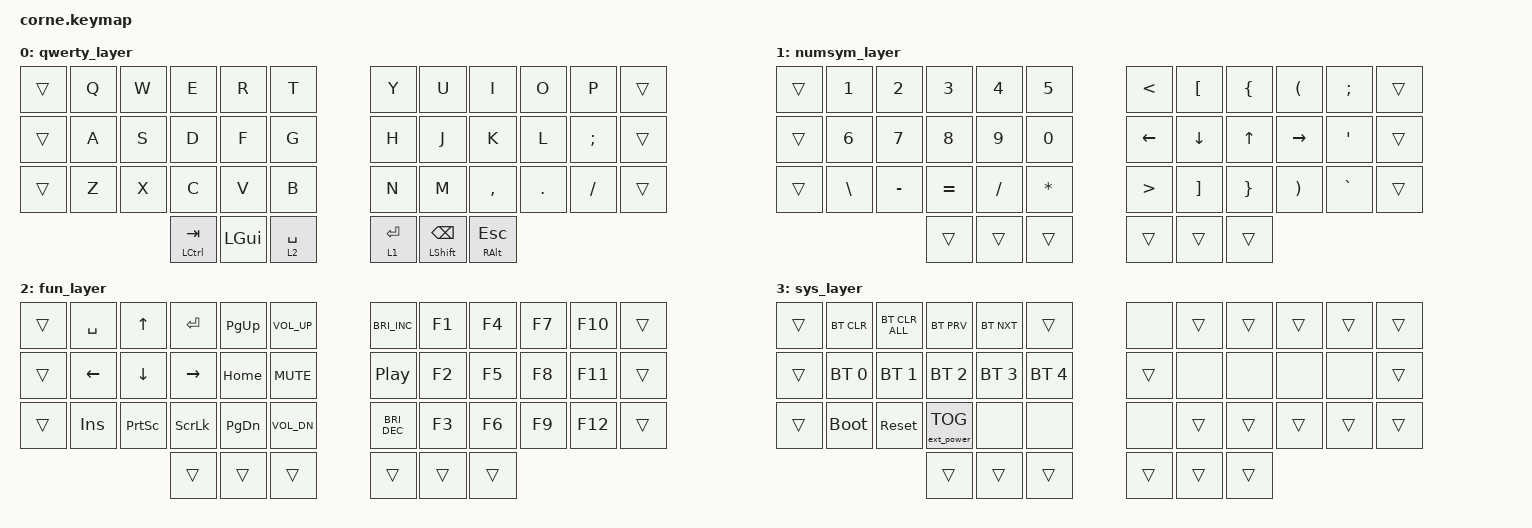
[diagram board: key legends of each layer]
/*
 * Copyright (c) 2020 The ZMK Contributors
 *
 * SPDX-License-Identifier: MIT
 */

#include <behaviors.dtsi>
#include <dt-bindings/zmk/bt.h>
#include <dt-bindings/zmk/ext_power.h>
#include <dt-bindings/zmk/keys.h>
#include <dt-bindings/zmk/outputs.h>

&mt {
    tapping-term-ms = <400>;
    quick-tap-ms = <175>;
    require-prior-idle-ms = <150>;
    flavor = "balanced";
};

&lt { tapping-term-ms = <400>; };

/ {
    combos {
        compatible = "zmk,combos";

        combo_esc {
            timeout-ms = <50>;
            key-positions = <1 2 3>;
            bindings = <&kp ESCAPE>;
        };

        combo_bksp {
            timeout-ms = <50>;
            key-positions = <10 9 8>;
            bindings = <&kp BACKSPACE>;
        };

        combo_tab {
            bindings = <&kp TAB>;
            key-positions = <13 14 15>;
        };

        combo_shift {
            bindings = <&kp LEFT_SHIFT>;
            key-positions = <25 26 27>;
        };

        combo_delete {
            bindings = <&kp DELETE>;
            key-positions = <21 22 20>;
        };

        combo_rshift {
            bindings = <&kp RIGHT_SHIFT>;
            key-positions = <33 34 32>;
        };

        exclm {
            bindings = <&kp EXCLAMATION>;
            key-positions = <1 13>;
        };

        at {
            bindings = <&kp AT_SIGN>;
            key-positions = <2 14>;
        };

        hash {
            bindings = <&kp HASH>;
            key-positions = <3 15>;
        };

        dllr {
            bindings = <&kp DOLLAR>;
            key-positions = <4 16>;
        };

        percnt {
            bindings = <&kp PERCENT>;
            key-positions = <5 17>;
        };

        caret {
            bindings = <&kp CARET>;
            key-positions = <6 18>;
        };

        and {
            bindings = <&kp AMPERSAND>;
            key-positions = <7 19>;
        };

        str {
            bindings = <&kp ASTERISK>;
            key-positions = <8 20>;
        };

        leftparen {
            bindings = <&kp LPAR>;
            key-positions = <9 21>;
        };

        rparen {
            bindings = <&kp RPAR>;
            key-positions = <10 22>;
        };

        system_reset {
            bindings = <&sys_reset>;
            key-positions = <3 4 5 14>;
        };

        bootloader {
            bindings = <&bootloader>;
            key-positions = <15 16 17 26>;
        };

        system_layer_combo {
            bindings = <&mo 3>;
            key-positions = <36 37 38>;
        };

        output_mode {
            bindings = <&out OUT_TOG>;
            key-positions = <40 6 7>;
        };

        quotes {
            bindings = <&kp DOUBLE_QUOTES>;
            key-positions = <6 7>;
        };

        c_brace {
            bindings = <&kp LEFT_BRACE>;
            key-positions = <18 19>;
        };

        c_rbrace {
            bindings = <&kp RIGHT_BRACE>;
            key-positions = <30 31>;
        };

        tildecom {
            bindings = <&mt TILDE RIGHT_COMMAND>;
            key-positions = <22 9>;
        };

        layertogone {
            bindings = <&tog 1>;
            key-positions = <30 19>;
        };

        layertogtwo {
            bindings = <&tog 2>;
            key-positions = <31 20>;
        };
    };

    conditional_layers { compatible = "zmk,conditional-layers"; };

    keymap {
        compatible = "zmk,keymap";

        qwerty_layer {
            bindings = <
&trans  &kp Q  &kp W  &kp E          &kp R         &kp T          &kp Y        &kp U                     &kp I              &kp O    &kp P     &trans
&trans  &kp A  &kp S  &kp D          &kp F         &kp G          &kp H        &kp J                     &kp K              &kp L    &kp SEMI  &trans
&trans  &kp Z  &kp X  &kp C          &kp V         &kp B          &kp N        &kp M                     &kp COMMA          &kp DOT  &kp FSLH  &trans
                      &mt LCTRL TAB  &kp LEFT_GUI  &lt 2 SPACE    &lt 1 ENTER  &mt LEFT_SHIFT BACKSPACE  &mt RIGHT_ALT ESC
            >;
        };

        numsym_layer {
            bindings = <
&trans  &kp N1         &kp N2     &kp N3     &kp N4     &kp N5          &kp LESS_THAN     &kp LEFT_BRACKET   &kp LEFT_BRACE   &kp LEFT_PARENTHESIS   &kp SEMICOLON  &trans
&trans  &kp NUMBER_6   &kp N7     &kp N8     &kp N9     &kp NUMBER_0    &kp LEFT          &kp DOWN           &kp UP           &kp RIGHT              &kp SQT        &trans
&trans  &kp BACKSLASH  &kp MINUS  &kp EQUAL  &kp SLASH  &kp ASTERISK    &kp GREATER_THAN  &kp RIGHT_BRACKET  &kp RIGHT_BRACE  &kp RIGHT_PARENTHESIS  &kp GRAVE      &trans
                                  &trans     &trans     &trans          &trans            &trans             &trans
            >;
        };

        fun_layer {
            bindings = <
&trans  &kp SPACE  &kp UP_ARROW     &kp ENTER       &kp PAGE_UP    &kp C_VOL_UP    &kp C_BRIGHTNESS_INC  &kp F1  &kp F4  &kp F7  &kp F10  &trans
&trans  &kp LEFT   &kp DOWN         &kp RIGHT       &kp HOME       &kp C_MUTE      &kp C_PLAY_PAUSE      &kp F2  &kp F5  &kp F8  &kp F11  &trans
&trans  &kp INS    &kp PRINTSCREEN  &kp SCROLLLOCK  &kp PAGE_DOWN  &kp C_VOL_DN    &kp C_BRIGHTNESS_DEC  &kp F3  &kp F6  &kp F9  &kp F12  &trans
                                    &trans          &trans         &trans          &trans                &trans  &trans
            >;
        };

        sys_layer {
            bindings = <
&trans  &bt BT_CLR    &bt BT_CLR_ALL  &bt BT_PRV         &bt BT_NXT    &trans          &none   &trans  &trans  &trans  &trans  &trans
&trans  &bt BT_SEL 0  &bt BT_SEL 1    &bt BT_SEL 2       &bt BT_SEL 3  &bt BT_SEL 4    &trans  &none   &none   &none   &none   &trans
&trans  &bootloader   &sys_reset      &ext_power EP_TOG  &none         &none           &none   &trans  &trans  &trans  &trans  &trans
                                      &trans             &trans        &trans          &trans  &trans  &trans
            >;
        };
    };
};
